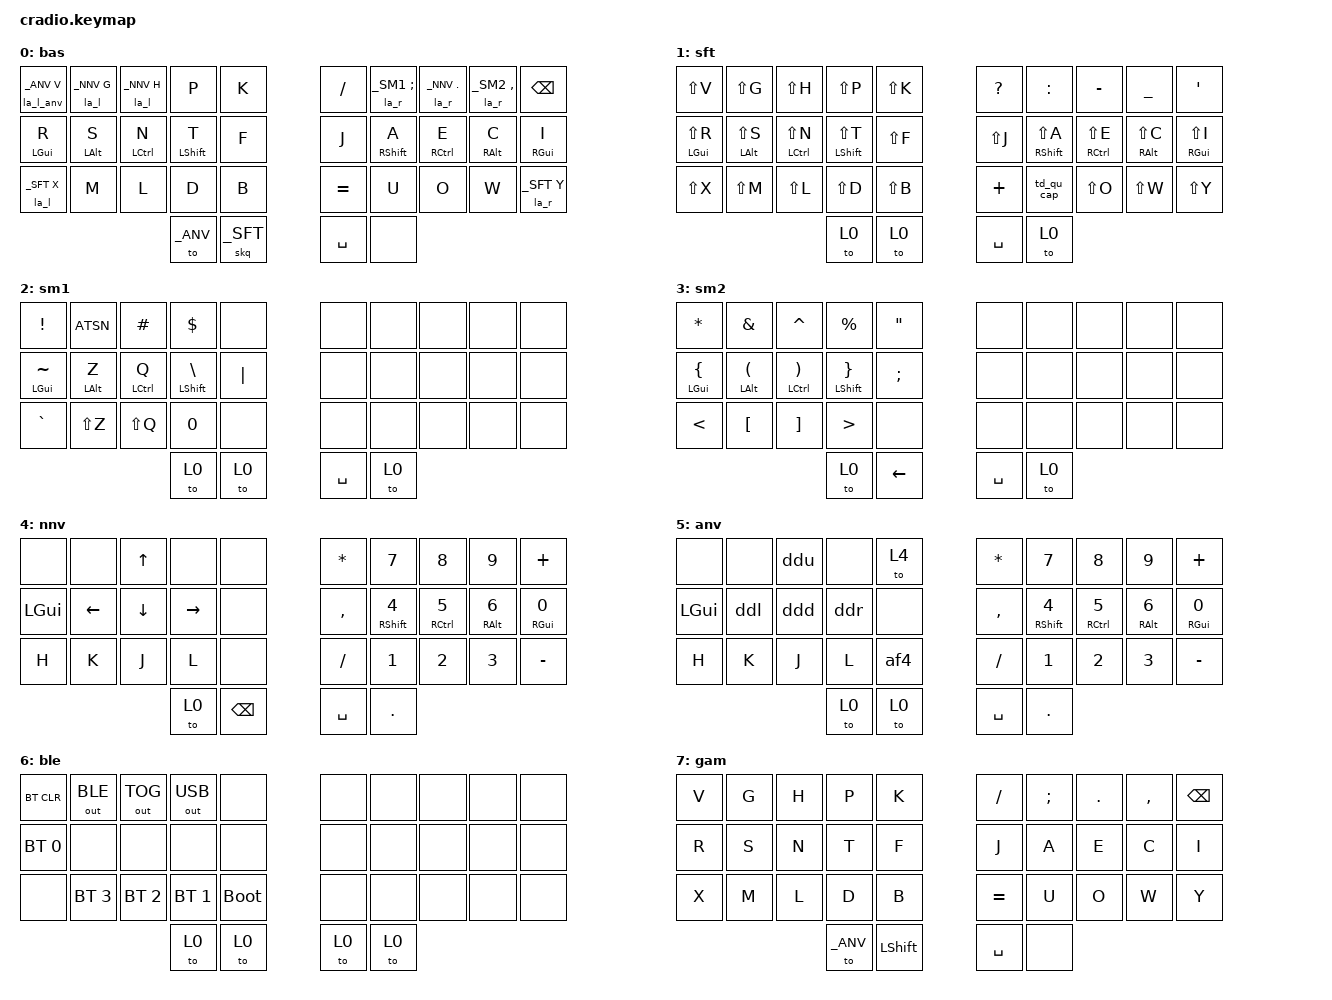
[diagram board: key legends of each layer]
#ifndef HEADER
#define HEADER
#include "keymap.h"
#endif

/ { 
    #include "_macros.dtsi"
    #include "_behaviors.dtsi"
    #include "_combos.dtsi"

    keymap {
            compatible = "zmk,keymap";
            
        bas {
    bindings = <
    &la_l_anv _ANV V &la_l _NNV G &la_l _NNV H &kp P &kp K 
                                        &kp FSLH &la_r _SM1 SEMI &la_r _NNV DOT &la_r _SM2 COMMA &kp BSPC 
    &hm LGUI R &hm LALT S &hm LCTRL N &hm LSHFT T &kp F
                                        &kp J &hm RSHFT A &hm RCTRL E &hm RALT C &hm RGUI I
    &la_l _SFT X &kp M &kp L &kp D &kp B
                                        &kp EQUAL &kp U  &kp O &kp W &la_r _SFT Y
                    &to _ANV   &skq _SFT               &kp SPC &none
    >;
    };

        sft {
    bindings = <
    &kp LS(V) &kp LS(G) &kp LS(H) &kp LS(P) &kp LS(K)                           &kp QMARK &kp COLON &kp MINUS &kp UNDER &kp SQT 
    &hm LGUI LS(R) &hm LALT LS(S) &hm LCTRL LS(N) &hm LSHFT LS(T) &kp LS(F)     &kp LS(J) &hm RSHFT LS(A) &hm RCTRL LS(E) &hm RALT LS(C) &hm RGUI LS(I)
    &kp LS(X) &kp LS(M) &kp LS(L) &kp LS(D) &kp LS(B)                           &kp PLUS &td_qu_cap  &kp LS(O) &kp LS(W) &kp LS(Y)
                    &to 0      &to 0  				                            &kp SPC &to 0
    >;
    };

        sm1 {
    bindings = <
    &kp EXCL  &kp ATSN  &kp HASH  &kp DLLR  &none                           &none &none &none &none &none
    &hm LGUI TILDE  &hm LALT Z  &hm LCTRL Q  &hm LSHFT BSLH  &kp PIPE       &none &none &none &none &none
    &kp GRAVE  &kp LS(Z)  &kp LS(Q)  &kp N0  &none  	                    &none &none &none &none &none
                                            &to 0  &to 0                    &kp SPC &to 0
    >;
    };	

        sm2 {
    bindings = <
    &kp STAR  &kp AMPS  &kp CARET  &kp PRCNT  &kp DQT                           &none &none &none &none &none
    &hm LGUI LBRC  &hm LALT LPAR  &hm LCTRL RPAR  &hm LSHFT RBRC  &kp SEMI      &none &none &none &none &none
    &kp LT  &kp LBKT  &kp RBKT  &kp GT  &none  	                                &none &none &none &none &none
                                            &to 0  &kp LEFT                     &kp SPC &to 0
    >;
    };	

        nnv {
    bindings = <
    &none &none &kp UP &none &none                          &kp STAR    &kp N7 &kp N8 &kp N9 &kp PLUS
    &kp LGUI &kp LEFT &kp DOWN &kp RIGHT &none              &kp COMMA   &hm RSHFT N4 &hm RCTRL N5 &hm RALT N6 &hm RGUI N0
    &kp H &kp K &kp J &kp L &none                           &kp FSLH    &kp N1 &kp N2 &kp N3 &kp MINUS
                        &to 0 &kp BSPC                      &kp SPC &kp DOT
    >;
    };

        anv {
    bindings = <
    &none &none &ddu &none &to 4                          &kp STAR    &kp N7 &kp N8 &kp N9 &kp PLUS
    &kp LGUI &ddl &ddd &ddr &none              &kp COMMA   &hm RSHFT N4 &hm RCTRL N5 &hm RALT N6 &hm RGUI N0
    &kp H &kp K &kp J &kp L &af4                            &kp FSLH    &kp N1 &kp N2 &kp N3 &kp MINUS
                        &to 0 &to 0                         &kp SPC &kp DOT
    >;
    };

        ble {
    bindings = <
    &bt BT_CLR &out OUT_BLE &out OUT_TOG &out OUT_USB &none           &none &none &none &none &none
    &bt BT_SEL 0 &none &none &none &none                                &none &none &none &none &none
    &none &bt BT_SEL 3 &bt BT_SEL 2 &bt BT_SEL 1 &bootloader            &none &none &none &none &none
                        &to 0 &to 0                                     &to 0 &to 0
    >;
    };

        gam {
    bindings = <
    &kp V &kp G &kp H &kp P &kp K 
                                        &kp FSLH &kp SEMI &kp DOT &kp COMMA &kp BSPC 
    &kp R &kp S &kp N &kp T &kp F
                                        &kp J &kp A &kp E &kp C &kp I
    &kp X &kp M &kp L &kp D &kp B
                                        &kp EQUAL &kp U  &kp O &kp W &kp Y
                    &to _ANV   &kp LSHFT               &kp SPC &none
    >;
    };

	};
};
